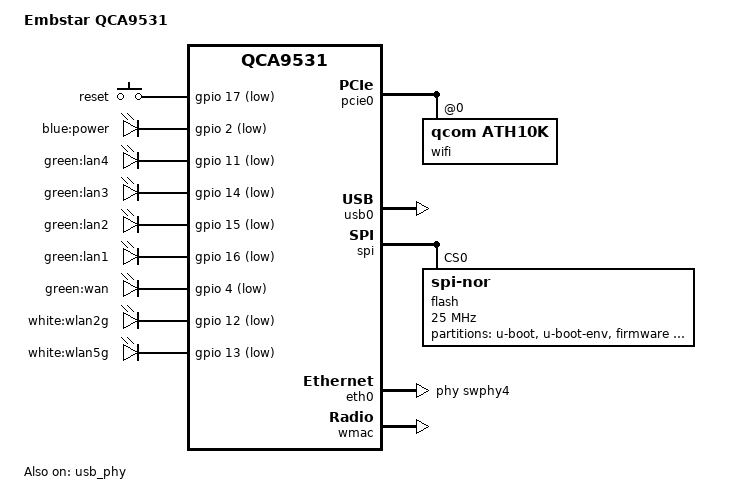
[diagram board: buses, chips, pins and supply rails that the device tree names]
// SPDX-License-Identifier: GPL-2.0-or-later OR MIT

#include "qca953x.dtsi"

#include <dt-bindings/gpio/gpio.h>
#include <dt-bindings/input/input.h>

/ {
	compatible = "embstar,qca9531", "qca,qca9531";
	model = "Embstar QCA9531";

	aliases {
		led-boot = &led_power;
		led-failsafe = &led_power;
		led-running = &led_power;
		led-upgrade = &led_power;
		label-mac-device = &eth0;
	};

	keys {
		compatible = "gpio-keys";

		pinctrl-names = "default";
		pinctrl-0 = <&jtag_disable_pins>;

		reset {
			label = "reset";
			linux,code = <KEY_RESTART>;
			gpios = <&gpio 17 GPIO_ACTIVE_LOW>;
		};

	};

	leds {
		compatible = "gpio-leds";

		led_power: power {
			label = "blue:power";
			gpios = <&gpio 2 GPIO_ACTIVE_LOW>;
			default-state = "on";
		};
		lan4 {
                        label = "green:lan4";
                        gpios = <&gpio 11 GPIO_ACTIVE_LOW>;
                };

                lan3 {
                        label = "green:lan3";
                        gpios = <&gpio 14 GPIO_ACTIVE_LOW>;
                };

                lan2 {
                        label = "green:lan2";
                        gpios = <&gpio 15 GPIO_ACTIVE_LOW>;
                };

                lan1 {
                        label = "green:lan1";
                        gpios = <&gpio 16 GPIO_ACTIVE_LOW>;
                };

                wan {
                        label = "green:wan";
                        gpios = <&gpio 4 GPIO_ACTIVE_LOW>;
                };
		wlan2g {
			label = "white:wlan2g";
			gpios = <&gpio 12 GPIO_ACTIVE_LOW>;
			linux,default-trigger = "phy1tpt";
		};

		wlan5g {
			label = "white:wlan5g";
			gpios = <&gpio 13 GPIO_ACTIVE_LOW>;
			linux,default-trigger = "phy0tpt";
		};
	};
};

&pcie0 {
	status = "okay";

	wifi@0,0 {
		compatible = "qcom,ath10k";
		reg = <0 0 0 0 0>;
		device_type = "pci";
	};
};

&usb0 {
	status = "okay";
};

&usb_phy {
	status = "okay";
};

&spi {
	status = "okay";

	flash@0 {
		compatible = "jedec,spi-nor";
		reg = <0>;
		spi-max-frequency = <25000000>;

		partitions {
			compatible = "fixed-partitions";
			#address-cells = <1>;
			#size-cells = <1>;

			partition@0 {
				label = "u-boot";
				reg = <0x000000 0x040000>;
				read-only;
			};

			partition@40000 {
				label = "u-boot-env";
				reg = <0x040000 0x010000>;
				read-only;
			};

			partition@50000 {
                                compatible = "denx,uimage";
                                label = "firmware";
                                reg = <0x050000 0xfa0000>;
                        };
			
			art: partition@ff0000 {
                                label = "art";
                                reg = <0xff0000 0x010000>;
                                read-only;
                        };
		};
	};
};

&eth0 {
	status = "okay";

	phy-handle = <&swphy4>;

	mtd-mac-address = <&art 0x0>;
};

&eth1 {
	mtd-mac-address = <&art 0x6>;
//	mtd-mac-address-increment = <1>;
};

&wmac {
	status = "okay";

	mtd-cal-data = <&art 0x1000>;
};
